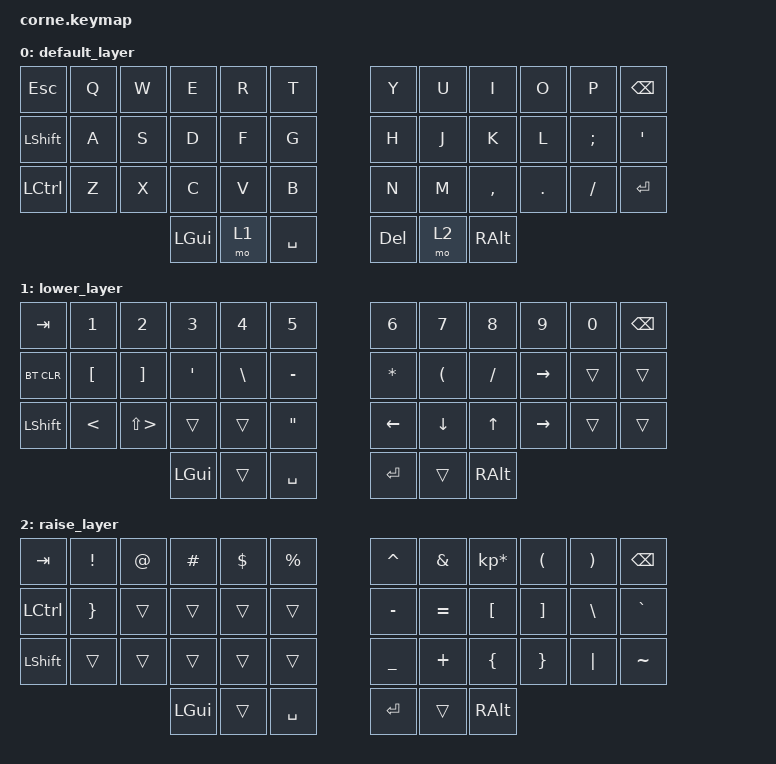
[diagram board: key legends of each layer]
/*
 * Copyright (c) 2020 The ZMK Contributors
 *
 * SPDX-License-Identifier: MIT
 */

#include <behaviors.dtsi>
#include <dt-bindings/zmk/bt.h>
#include <dt-bindings/zmk/keys.h>

/ {
    keymap {
        compatible = "zmk,keymap";

        default_layer {
            // -----------------------------------------------------------------------------------------
            // |  TAB |  Q  |  W  |  E  |  R  |  T  |   |  Y  |  U   |  I  |  O  |  P  | BKSP |
            // | CTRL |  A  |  S  |  D  |  F  |  G  |   |  H  |  J   |  K  |  L  |  ;  |  '   |
            // | SHFT |  Z  |  X  |  C  |  V  |  B  |   |  N  |  M   |  ,  |  .  |  /  | ESC  |
            //                    | GUI | LWR | SPC |   | ENT | RSE  | ALT |

            bindings = <
&kp ESCAPE        &kp Q  &kp W  &kp E     &kp R  &kp T        &kp Y    &kp U  &kp I      &kp O    &kp P     &kp BSPC
&kp LSHFT         &kp A  &kp S  &kp D     &kp F  &kp G        &kp H    &kp J  &kp K      &kp L    &kp SEMI  &kp SQT
&kp LEFT_CONTROL  &kp Z  &kp X  &kp C     &kp V  &kp B        &kp N    &kp M  &kp COMMA  &kp DOT  &kp FSLH  &kp ENTER
                                &kp LGUI  &mo 1  &kp SPACE    &kp DEL  &mo 2  &kp RALT
            >;
        };

        lower_layer {
            // -----------------------------------------------------------------------------------------
            // |  TAB |  1  |  2  |  3  |  4  |  5  |   |  6  |  7  |  8  |  9  |  0  | BKSP |
            // | BTCLR| BT1 | BT2 | BT3 | BT4 | BT5 |   | LFT | DWN |  UP | RGT |     |      |
            // | SHFT |     |     |     |     |     |   |     |     |     |     |     |      |
            //                    | GUI |     | SPC |   | ENT |     | ALT |

            bindings = <
&kp TAB     &kp N1            &kp N2             &kp N3    &kp N4         &kp N5               &kp N6        &kp N7          &kp N8        &kp N9           &kp N0  &kp BSPC
&bt BT_CLR  &kp LEFT_BRACKET  &kp RIGHT_BRACKET  &kp SQT   &kp BACKSLASH  &kp MINUS            &kp ASTERISK  &kp LPAR        &kp FSLH      &kp RIGHT        &trans  &trans
&kp LSHFT   &kp LT            &kp LS(GT)         &trans    &trans         &kp DOUBLE_QUOTES    &kp LEFT      &kp DOWN_ARROW  &kp UP_ARROW  &kp RIGHT_ARROW  &trans  &trans
                                                 &kp LGUI  &trans         &kp SPACE            &kp RET       &trans          &kp RALT
            >;
        };

        raise_layer {
            // -----------------------------------------------------------------------------------------
            // |  TAB |  !  |  @  |  #  |  $  |  %  |   |  ^  |  &  |  *  |  (  |  )  | BKSP |
            // | CTRL |     |     |     |     |     |   |  -  |  =  |  [  |  ]  |  \  |  `   |
            // | SHFT |     |     |     |     |     |   |  _  |  +  |  {  |  }  | "|" |  ~   |
            //                    | GUI |     | SPC |   | ENT |     | ALT |

            bindings = <
&kp TAB    &kp EXCL         &kp AT  &kp HASH  &kp DLLR  &kp PRCNT    &kp CARET  &kp AMPS   &kp KP_MULTIPLY  &kp LPAR  &kp RPAR  &kp BSPC
&kp LCTRL  &kp RIGHT_BRACE  &trans  &trans    &trans    &trans       &kp MINUS  &kp EQUAL  &kp LBKT         &kp RBKT  &kp BSLH  &kp GRAVE
&kp LSHFT  &trans           &trans  &trans    &trans    &trans       &kp UNDER  &kp PLUS   &kp LBRC         &kp RBRC  &kp PIPE  &kp TILDE
                                    &kp LGUI  &trans    &kp SPACE    &kp RET    &trans     &kp RALT
            >;
        };
    };
};
